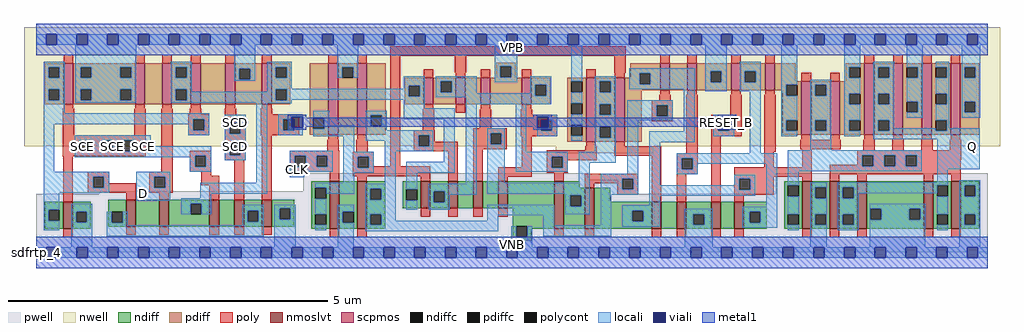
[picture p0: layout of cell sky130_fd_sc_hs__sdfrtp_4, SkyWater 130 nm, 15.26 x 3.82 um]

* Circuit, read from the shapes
.subckt sky130_fd_sc_hs__sdfrtp_4 CLK D RESET_B SCD SCE VGND VNB VPB VPWR Q
XM1 VGND SCE n1 VNB sky130_fd_pr__nfet_01v8_lvt w=0.42 l=0.15
XM2 n2 n1 n3 VNB sky130_fd_pr__nfet_01v8_lvt w=0.42 l=0.15
XM3 n4 D n2 VNB sky130_fd_pr__nfet_01v8_lvt w=0.42 l=0.15
XM4 n5 SCE n4 VNB sky130_fd_pr__nfet_01v8_lvt w=0.42 l=0.15
XM5 n3 SCD n5 VNB sky130_fd_pr__nfet_01v8_lvt w=0.42 l=0.15
XM6 VGND RESET_B n3 VNB sky130_fd_pr__nfet_01v8_lvt w=0.42 l=0.15
XM7 VGND CLK n6 VNB sky130_fd_pr__nfet_01v8_lvt w=0.74 l=0.15
XM8 n7 n6 VGND VNB sky130_fd_pr__nfet_01v8_lvt w=0.74 l=0.15
XM9 n8 n6 n4 VNB sky130_fd_pr__nfet_01v8_lvt w=0.42 l=0.15
XM10 n9 n7 n8 VNB sky130_fd_pr__nfet_01v8_lvt w=0.42 l=0.15
XM11 n10 n11 n9 VNB sky130_fd_pr__nfet_01v8_lvt w=0.42 l=0.15
XM12 VGND RESET_B n10 VNB sky130_fd_pr__nfet_01v8_lvt w=0.42 l=0.15
XM13 n11 n8 VGND VNB sky130_fd_pr__nfet_01v8_lvt w=0.74 l=0.15
XM14 n12 n7 n11 VNB sky130_fd_pr__nfet_01v8_lvt w=0.64 l=0.15
XM15 n13 n6 n12 VNB sky130_fd_pr__nfet_01v8_lvt w=0.42 l=0.15
XM16 VGND n14 n13 VNB sky130_fd_pr__nfet_01v8_lvt w=0.42 l=0.15
XM17 n15 RESET_B VGND VNB sky130_fd_pr__nfet_01v8_lvt w=0.42 l=0.15
XM18 n14 n12 n15 VNB sky130_fd_pr__nfet_01v8_lvt w=0.42 l=0.15
XM19 VGND n12 n16 VNB sky130_fd_pr__nfet_01v8_lvt w=0.74 l=0.15
XM20 Q n16 VGND VNB sky130_fd_pr__nfet_01v8_lvt w=0.74 l=0.15 m=4
XM21 VPWR SCE n1 VPB sky130_fd_pr__pfet_01v8 w=0.64 l=0.15
XM22 n17 SCE VPWR VPB sky130_fd_pr__pfet_01v8 w=0.64 l=0.15
XM23 n4 D n17 VPB sky130_fd_pr__pfet_01v8 w=0.64 l=0.15
XM24 n18 n1 n4 VPB sky130_fd_pr__pfet_01v8 w=0.64 l=0.15
XM25 VPWR SCD n18 VPB sky130_fd_pr__pfet_01v8 w=0.64 l=0.15
XM26 n4 RESET_B VPWR VPB sky130_fd_pr__pfet_01v8 w=0.64 l=0.15
XM27 VPWR CLK n6 VPB sky130_fd_pr__pfet_01v8 w=1.12 l=0.15
XM28 n7 n6 VPWR VPB sky130_fd_pr__pfet_01v8 w=1.12 l=0.15
XM29 n8 n7 n4 VPB sky130_fd_pr__pfet_01v8 w=0.42 l=0.15
XM30 n19 n6 n8 VPB sky130_fd_pr__pfet_01v8 w=0.42 l=0.15
XM31 VPWR n11 n19 VPB sky130_fd_pr__pfet_01v8 w=0.42 l=0.15
XM32 n8 RESET_B VPWR VPB sky130_fd_pr__pfet_01v8 w=0.42 l=0.15
XM33 n11 n8 VPWR VPB sky130_fd_pr__pfet_01v8 w=1 l=0.15
XM34 n12 n6 n11 VPB sky130_fd_pr__pfet_01v8 w=1 l=0.15
XM35 n20 n7 n12 VPB sky130_fd_pr__pfet_01v8 w=0.42 l=0.15
XM36 VPWR n14 n20 VPB sky130_fd_pr__pfet_01v8 w=0.42 l=0.15
XM37 n14 RESET_B VPWR VPB sky130_fd_pr__pfet_01v8 w=0.42 l=0.15
XM38 VPWR n12 n14 VPB sky130_fd_pr__pfet_01v8 w=0.42 l=0.15
XM39 n16 n12 VPWR VPB sky130_fd_pr__pfet_01v8 w=0.84 l=0.15 m=2
XM40 Q n16 VPWR VPB sky130_fd_pr__pfet_01v8 w=1.12 l=0.15 m=4
.ends

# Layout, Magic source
magic
tech sky130A
magscale 1 2
<< nwell >>
rect -38 332 3014 704
rect 1625 311 1929 332
<< pwell >>
rect 835 228 1726 248
rect 835 191 1821 228
rect 199 184 1821 191
rect 2313 184 2975 248
rect 1 49 2975 184
rect 0 0 2976 49
<< scpmos >>
rect 86 464 116 592
rect 310 464 340 592
rect 394 464 424 592
rect 484 464 514 592
rect 592 464 622 592
rect 706 464 736 592
rect 914 368 944 592
rect 1004 368 1034 592
rect 1212 463 1242 547
rect 1312 463 1342 547
rect 1390 463 1420 547
rect 1518 463 1548 547
rect 1720 347 1750 547
rect 1810 347 1840 547
rect 1952 508 1982 592
rect 2036 508 2066 592
rect 2173 508 2203 592
rect 2280 508 2310 592
rect 2393 368 2423 536
rect 2483 368 2513 536
rect 2590 368 2620 592
rect 2680 368 2710 592
rect 2770 368 2800 592
rect 2860 368 2890 592
<< nmoslvt >>
rect 84 74 114 158
rect 282 81 312 165
rect 385 81 415 165
rect 542 81 572 165
rect 620 81 650 165
rect 706 81 736 165
rect 918 74 948 222
rect 1004 74 1034 222
rect 1203 138 1233 222
rect 1289 138 1319 222
rect 1367 138 1397 222
rect 1445 138 1475 222
rect 1620 74 1650 222
rect 1715 74 1745 202
rect 1925 74 1955 158
rect 2003 74 2033 158
rect 2111 74 2141 158
rect 2183 74 2213 158
rect 2396 74 2426 222
rect 2482 74 2512 222
rect 2568 74 2598 222
rect 2776 74 2806 222
rect 2862 74 2892 222
<< ndiff >>
rect 861 202 918 222
rect 861 168 873 202
rect 907 168 918 202
rect 27 133 84 158
rect 27 99 39 133
rect 73 99 84 133
rect 27 74 84 99
rect 114 128 171 158
rect 114 94 125 128
rect 159 94 171 128
rect 114 74 171 94
rect 225 127 282 165
rect 225 93 237 127
rect 271 93 282 127
rect 225 81 282 93
rect 312 81 385 165
rect 415 153 542 165
rect 415 119 483 153
rect 517 119 542 153
rect 415 81 542 119
rect 572 81 620 165
rect 650 130 706 165
rect 650 96 661 130
rect 695 96 706 130
rect 650 81 706 96
rect 736 138 807 165
rect 736 104 761 138
rect 795 104 807 138
rect 736 81 807 104
rect 861 120 918 168
rect 861 86 873 120
rect 907 86 918 120
rect 861 74 918 86
rect 948 127 1004 222
rect 948 93 959 127
rect 993 93 1004 127
rect 948 74 1004 93
rect 1034 199 1091 222
rect 1034 165 1045 199
rect 1079 165 1091 199
rect 1034 120 1091 165
rect 1146 197 1203 222
rect 1146 163 1158 197
rect 1192 163 1203 197
rect 1146 138 1203 163
rect 1233 191 1289 222
rect 1233 157 1244 191
rect 1278 157 1289 191
rect 1233 138 1289 157
rect 1319 138 1367 222
rect 1397 138 1445 222
rect 1475 138 1620 222
rect 1034 86 1045 120
rect 1079 86 1091 120
rect 1034 74 1091 86
rect 1490 82 1620 138
rect 1490 48 1502 82
rect 1536 74 1620 82
rect 1650 202 1700 222
rect 1650 179 1715 202
rect 1650 145 1670 179
rect 1704 145 1715 179
rect 1650 74 1715 145
rect 1745 158 1795 202
rect 2339 210 2396 222
rect 2339 176 2351 210
rect 2385 176 2396 210
rect 1745 131 1925 158
rect 1745 97 1864 131
rect 1898 97 1925 131
rect 1745 74 1925 97
rect 1955 74 2003 158
rect 2033 120 2111 158
rect 2033 86 2055 120
rect 2089 86 2111 120
rect 2033 74 2111 86
rect 2141 74 2183 158
rect 2213 127 2285 158
rect 2213 93 2231 127
rect 2265 93 2285 127
rect 2213 74 2285 93
rect 2339 120 2396 176
rect 2339 86 2351 120
rect 2385 86 2396 120
rect 2339 74 2396 86
rect 2426 204 2482 222
rect 2426 170 2437 204
rect 2471 170 2482 204
rect 2426 120 2482 170
rect 2426 86 2437 120
rect 2471 86 2482 120
rect 2426 74 2482 86
rect 2512 204 2568 222
rect 2512 170 2523 204
rect 2557 170 2568 204
rect 2512 120 2568 170
rect 2512 86 2523 120
rect 2557 86 2568 120
rect 2512 74 2568 86
rect 2598 136 2776 222
rect 2598 102 2609 136
rect 2643 102 2731 136
rect 2765 102 2776 136
rect 2598 74 2776 102
rect 2806 210 2862 222
rect 2806 176 2817 210
rect 2851 176 2862 210
rect 2806 120 2862 176
rect 2806 86 2817 120
rect 2851 86 2862 120
rect 2806 74 2862 86
rect 2892 210 2949 222
rect 2892 176 2903 210
rect 2937 176 2949 210
rect 2892 120 2949 176
rect 2892 86 2903 120
rect 2937 86 2949 120
rect 2892 74 2949 86
rect 1536 48 1548 74
rect 1490 36 1548 48
<< pdiff >>
rect 27 580 86 592
rect 27 546 39 580
rect 73 546 86 580
rect 27 510 86 546
rect 27 476 39 510
rect 73 476 86 510
rect 27 464 86 476
rect 116 580 310 592
rect 116 546 139 580
rect 173 546 263 580
rect 297 546 310 580
rect 116 510 310 546
rect 116 476 139 510
rect 173 476 263 510
rect 297 476 310 510
rect 116 464 310 476
rect 340 464 394 592
rect 424 580 484 592
rect 424 546 437 580
rect 471 546 484 580
rect 424 510 484 546
rect 424 476 437 510
rect 471 476 484 510
rect 424 464 484 476
rect 514 464 592 592
rect 622 575 706 592
rect 622 541 635 575
rect 669 541 706 575
rect 622 464 706 541
rect 736 580 795 592
rect 736 546 749 580
rect 783 546 795 580
rect 736 510 795 546
rect 736 476 749 510
rect 783 476 795 510
rect 736 464 795 476
rect 855 421 914 592
rect 855 387 867 421
rect 901 387 914 421
rect 855 368 914 387
rect 944 580 1004 592
rect 944 546 957 580
rect 991 546 1004 580
rect 944 368 1004 546
rect 1034 429 1093 592
rect 1034 395 1047 429
rect 1081 395 1093 429
rect 1034 368 1093 395
rect 1438 582 1500 594
rect 1438 548 1452 582
rect 1486 548 1500 582
rect 1438 547 1500 548
rect 1858 560 1952 592
rect 1858 547 1887 560
rect 1153 522 1212 547
rect 1153 488 1165 522
rect 1199 488 1212 522
rect 1153 463 1212 488
rect 1242 535 1312 547
rect 1242 501 1265 535
rect 1299 501 1312 535
rect 1242 463 1312 501
rect 1342 463 1390 547
rect 1420 463 1518 547
rect 1548 524 1607 547
rect 1548 490 1561 524
rect 1595 490 1607 524
rect 1548 463 1607 490
rect 1661 535 1720 547
rect 1661 501 1673 535
rect 1707 501 1720 535
rect 1661 467 1720 501
rect 1661 433 1673 467
rect 1707 433 1720 467
rect 1661 399 1720 433
rect 1661 365 1673 399
rect 1707 365 1720 399
rect 1661 347 1720 365
rect 1750 535 1810 547
rect 1750 501 1763 535
rect 1797 501 1810 535
rect 1750 464 1810 501
rect 1750 430 1763 464
rect 1797 430 1810 464
rect 1750 393 1810 430
rect 1750 359 1763 393
rect 1797 359 1810 393
rect 1750 347 1810 359
rect 1840 526 1887 547
rect 1921 526 1952 560
rect 1840 508 1952 526
rect 1982 508 2036 592
rect 2066 567 2173 592
rect 2066 533 2109 567
rect 2143 533 2173 567
rect 2066 508 2173 533
rect 2203 567 2280 592
rect 2203 533 2216 567
rect 2250 533 2280 567
rect 2203 508 2280 533
rect 2310 536 2375 592
rect 2531 580 2590 592
rect 2531 546 2543 580
rect 2577 546 2590 580
rect 2531 536 2590 546
rect 2310 524 2393 536
rect 2310 508 2346 524
rect 1840 347 1893 508
rect 2333 490 2346 508
rect 2380 490 2393 524
rect 2333 414 2393 490
rect 2333 380 2346 414
rect 2380 380 2393 414
rect 2333 368 2393 380
rect 2423 524 2483 536
rect 2423 490 2436 524
rect 2470 490 2483 524
rect 2423 414 2483 490
rect 2423 380 2436 414
rect 2470 380 2483 414
rect 2423 368 2483 380
rect 2513 497 2590 536
rect 2513 463 2543 497
rect 2577 463 2590 497
rect 2513 414 2590 463
rect 2513 380 2543 414
rect 2577 380 2590 414
rect 2513 368 2590 380
rect 2620 580 2680 592
rect 2620 546 2633 580
rect 2667 546 2680 580
rect 2620 497 2680 546
rect 2620 463 2633 497
rect 2667 463 2680 497
rect 2620 414 2680 463
rect 2620 380 2633 414
rect 2667 380 2680 414
rect 2620 368 2680 380
rect 2710 580 2770 592
rect 2710 546 2723 580
rect 2757 546 2770 580
rect 2710 472 2770 546
rect 2710 438 2723 472
rect 2757 438 2770 472
rect 2710 368 2770 438
rect 2800 580 2860 592
rect 2800 546 2813 580
rect 2847 546 2860 580
rect 2800 497 2860 546
rect 2800 463 2813 497
rect 2847 463 2860 497
rect 2800 414 2860 463
rect 2800 380 2813 414
rect 2847 380 2860 414
rect 2800 368 2860 380
rect 2890 580 2949 592
rect 2890 546 2903 580
rect 2937 546 2949 580
rect 2890 472 2949 546
rect 2890 438 2903 472
rect 2937 438 2949 472
rect 2890 368 2949 438
<< ndiffc >>
rect 873 168 907 202
rect 39 99 73 133
rect 125 94 159 128
rect 237 93 271 127
rect 483 119 517 153
rect 661 96 695 130
rect 761 104 795 138
rect 873 86 907 120
rect 959 93 993 127
rect 1045 165 1079 199
rect 1158 163 1192 197
rect 1244 157 1278 191
rect 1045 86 1079 120
rect 1502 48 1536 82
rect 1670 145 1704 179
rect 2351 176 2385 210
rect 1864 97 1898 131
rect 2055 86 2089 120
rect 2231 93 2265 127
rect 2351 86 2385 120
rect 2437 170 2471 204
rect 2437 86 2471 120
rect 2523 170 2557 204
rect 2523 86 2557 120
rect 2609 102 2643 136
rect 2731 102 2765 136
rect 2817 176 2851 210
rect 2817 86 2851 120
rect 2903 176 2937 210
rect 2903 86 2937 120
<< pdiffc >>
rect 39 546 73 580
rect 39 476 73 510
rect 139 546 173 580
rect 263 546 297 580
rect 139 476 173 510
rect 263 476 297 510
rect 437 546 471 580
rect 437 476 471 510
rect 635 541 669 575
rect 749 546 783 580
rect 749 476 783 510
rect 867 387 901 421
rect 957 546 991 580
rect 1047 395 1081 429
rect 1452 548 1486 582
rect 1165 488 1199 522
rect 1265 501 1299 535
rect 1561 490 1595 524
rect 1673 501 1707 535
rect 1673 433 1707 467
rect 1673 365 1707 399
rect 1763 501 1797 535
rect 1763 430 1797 464
rect 1763 359 1797 393
rect 1887 526 1921 560
rect 2109 533 2143 567
rect 2216 533 2250 567
rect 2543 546 2577 580
rect 2346 490 2380 524
rect 2346 380 2380 414
rect 2436 490 2470 524
rect 2436 380 2470 414
rect 2543 463 2577 497
rect 2543 380 2577 414
rect 2633 546 2667 580
rect 2633 463 2667 497
rect 2633 380 2667 414
rect 2723 546 2757 580
rect 2723 438 2757 472
rect 2813 546 2847 580
rect 2813 463 2847 497
rect 2813 380 2847 414
rect 2903 546 2937 580
rect 2903 438 2937 472
<< poly >>
rect 86 592 116 618
rect 310 592 340 618
rect 394 592 424 618
rect 484 592 514 618
rect 592 592 622 618
rect 706 592 736 618
rect 914 592 944 618
rect 1004 592 1034 618
rect 1108 615 1843 645
rect 86 449 116 464
rect 310 449 340 464
rect 394 449 424 464
rect 484 449 514 464
rect 592 449 622 464
rect 706 449 736 464
rect 83 367 119 449
rect 307 367 343 449
rect 83 351 343 367
rect 83 317 137 351
rect 171 317 205 351
rect 239 317 273 351
rect 307 317 343 351
rect 83 301 343 317
rect 84 158 114 301
rect 391 253 427 449
rect 481 432 517 449
rect 475 416 541 432
rect 475 382 491 416
rect 525 382 541 416
rect 475 366 541 382
rect 589 422 625 449
rect 703 432 739 449
rect 589 406 655 422
rect 589 372 605 406
rect 639 372 655 406
rect 589 338 655 372
rect 703 416 823 432
rect 703 382 773 416
rect 807 382 823 416
rect 703 366 823 382
rect 162 237 228 253
rect 162 203 178 237
rect 212 217 228 237
rect 354 237 427 253
rect 481 302 547 318
rect 481 268 497 302
rect 531 268 547 302
rect 589 304 605 338
rect 639 304 655 338
rect 589 288 655 304
rect 481 252 547 268
rect 212 203 312 217
rect 162 187 312 203
rect 354 203 370 237
rect 404 203 427 237
rect 517 240 547 252
rect 517 210 572 240
rect 354 187 427 203
rect 282 165 312 187
rect 385 165 415 187
rect 542 165 572 210
rect 620 165 650 288
rect 706 165 736 366
rect 914 353 944 368
rect 1004 353 1034 368
rect 911 318 947 353
rect 793 302 948 318
rect 1001 315 1037 353
rect 793 268 809 302
rect 843 268 877 302
rect 911 268 948 302
rect 793 252 948 268
rect 918 222 948 252
rect 990 299 1056 315
rect 990 265 1006 299
rect 1040 269 1056 299
rect 1108 269 1138 615
rect 1212 547 1242 573
rect 1309 562 1345 615
rect 1312 547 1342 562
rect 1390 547 1420 573
rect 1518 547 1548 573
rect 1720 547 1750 573
rect 1807 562 1843 615
rect 1952 592 1982 618
rect 2036 592 2066 618
rect 2173 592 2203 618
rect 2280 592 2310 618
rect 2590 592 2620 618
rect 2680 592 2710 618
rect 2770 592 2800 618
rect 2860 592 2890 618
rect 1810 547 1840 562
rect 1212 448 1242 463
rect 1209 383 1245 448
rect 1312 437 1342 463
rect 1390 448 1420 463
rect 1518 448 1548 463
rect 1387 389 1423 448
rect 1515 430 1551 448
rect 1515 414 1629 430
rect 1180 367 1246 383
rect 1180 333 1196 367
rect 1230 347 1246 367
rect 1367 373 1471 389
rect 1230 333 1319 347
rect 1180 317 1319 333
rect 1040 265 1233 269
rect 990 239 1233 265
rect 1004 222 1034 239
rect 1203 222 1233 239
rect 1289 222 1319 317
rect 1367 339 1421 373
rect 1455 339 1471 373
rect 1515 380 1579 414
rect 1613 380 1629 414
rect 1515 364 1629 380
rect 1367 323 1471 339
rect 1367 222 1397 323
rect 1519 267 1549 364
rect 2393 536 2423 562
rect 2483 536 2513 562
rect 1952 493 1982 508
rect 2036 493 2066 508
rect 2173 493 2203 508
rect 2280 493 2310 508
rect 1949 476 1985 493
rect 1925 460 1991 476
rect 1925 426 1941 460
rect 1975 426 1991 460
rect 1925 410 1991 426
rect 1720 332 1750 347
rect 1810 332 1840 347
rect 1717 319 1753 332
rect 1445 237 1549 267
rect 1597 299 1753 319
rect 1807 302 1955 332
rect 2033 311 2069 493
rect 2170 430 2206 493
rect 1597 265 1613 299
rect 1647 289 1753 299
rect 1647 265 1663 289
rect 1597 249 1663 265
rect 1445 222 1475 237
rect 1620 222 1650 249
rect 1715 231 1883 247
rect 84 48 114 74
rect 282 55 312 81
rect 385 55 415 81
rect 542 55 572 81
rect 620 55 650 81
rect 706 55 736 81
rect 1203 112 1233 138
rect 1289 112 1319 138
rect 1367 112 1397 138
rect 1445 112 1475 138
rect 918 48 948 74
rect 1004 48 1034 74
rect 1715 217 1833 231
rect 1715 202 1745 217
rect 1817 197 1833 217
rect 1867 197 1883 231
rect 1817 181 1883 197
rect 1925 158 1955 302
rect 2003 295 2069 311
rect 2003 261 2019 295
rect 2053 261 2069 295
rect 2003 245 2069 261
rect 2111 414 2206 430
rect 2111 380 2133 414
rect 2167 380 2206 414
rect 2111 364 2206 380
rect 2003 158 2033 245
rect 2111 158 2141 364
rect 2277 315 2313 493
rect 2393 353 2423 368
rect 2483 353 2513 368
rect 2590 353 2620 368
rect 2680 353 2710 368
rect 2770 353 2800 368
rect 2860 353 2890 368
rect 2390 323 2516 353
rect 2277 267 2307 315
rect 2396 267 2426 323
rect 2587 320 2623 353
rect 2677 320 2713 353
rect 2767 320 2803 353
rect 2857 320 2893 353
rect 2568 304 2893 320
rect 2568 275 2584 304
rect 2183 237 2426 267
rect 2183 230 2307 237
rect 2183 196 2199 230
rect 2233 196 2307 230
rect 2396 222 2426 237
rect 2482 270 2584 275
rect 2618 270 2652 304
rect 2686 270 2720 304
rect 2754 290 2893 304
rect 2754 270 2892 290
rect 2482 245 2892 270
rect 2482 222 2512 245
rect 2568 222 2598 245
rect 2776 222 2806 245
rect 2862 222 2892 245
rect 2183 180 2307 196
rect 2183 158 2213 180
rect 1620 48 1650 74
rect 1715 48 1745 74
rect 1925 48 1955 74
rect 2003 48 2033 74
rect 2111 48 2141 74
rect 2183 48 2213 74
rect 2396 48 2426 74
rect 2482 48 2512 74
rect 2568 48 2598 74
rect 2776 48 2806 74
rect 2862 48 2892 74
<< polycont >>
rect 137 317 171 351
rect 205 317 239 351
rect 273 317 307 351
rect 491 382 525 416
rect 605 372 639 406
rect 773 382 807 416
rect 178 203 212 237
rect 497 268 531 302
rect 605 304 639 338
rect 370 203 404 237
rect 809 268 843 302
rect 877 268 911 302
rect 1006 265 1040 299
rect 1196 333 1230 367
rect 1421 339 1455 373
rect 1579 380 1613 414
rect 1941 426 1975 460
rect 1613 265 1647 299
rect 1833 197 1867 231
rect 2019 261 2053 295
rect 2133 380 2167 414
rect 2199 196 2233 230
rect 2584 270 2618 304
rect 2652 270 2686 304
rect 2720 270 2754 304
<< locali >>
rect 0 649 31 683
rect 65 649 127 683
rect 161 649 223 683
rect 257 649 319 683
rect 353 649 415 683
rect 449 649 511 683
rect 545 649 607 683
rect 641 649 703 683
rect 737 649 799 683
rect 833 649 895 683
rect 929 649 991 683
rect 1025 649 1087 683
rect 1121 649 1183 683
rect 1217 649 1279 683
rect 1313 649 1375 683
rect 1409 649 1471 683
rect 1505 649 1567 683
rect 1601 649 1663 683
rect 1697 649 1759 683
rect 1793 649 1855 683
rect 1889 649 1951 683
rect 1985 649 2047 683
rect 2081 649 2143 683
rect 2177 649 2239 683
rect 2273 649 2335 683
rect 2369 649 2431 683
rect 2465 649 2527 683
rect 2561 649 2623 683
rect 2657 649 2719 683
rect 2753 649 2815 683
rect 2849 649 2911 683
rect 2945 649 2976 683
rect 23 580 89 596
rect 23 546 39 580
rect 73 546 89 580
rect 23 510 89 546
rect 23 476 39 510
rect 73 476 89 510
rect 23 435 89 476
rect 123 580 313 649
rect 123 546 139 580
rect 173 546 263 580
rect 297 546 313 580
rect 123 510 313 546
rect 123 476 139 510
rect 173 476 263 510
rect 297 476 313 510
rect 123 469 313 476
rect 421 580 487 596
rect 421 546 437 580
rect 471 546 487 580
rect 421 510 487 546
rect 619 575 685 649
rect 619 541 635 575
rect 669 541 685 575
rect 619 537 685 541
rect 723 580 799 596
rect 723 546 749 580
rect 783 546 799 580
rect 941 580 1007 649
rect 941 546 957 580
rect 991 546 1007 580
rect 1434 582 1504 649
rect 421 476 437 510
rect 471 503 487 510
rect 723 512 799 546
rect 1149 522 1215 551
rect 1149 512 1165 522
rect 723 510 1165 512
rect 723 503 749 510
rect 471 476 749 503
rect 783 488 1165 510
rect 1199 488 1215 522
rect 783 478 1215 488
rect 1249 535 1377 551
rect 1249 501 1265 535
rect 1299 501 1377 535
rect 1434 548 1452 582
rect 1486 548 1504 582
rect 1434 532 1504 548
rect 1249 498 1377 501
rect 1545 524 1611 551
rect 1545 498 1561 524
rect 1249 490 1561 498
rect 1595 490 1611 524
rect 1249 485 1611 490
rect 783 476 799 478
rect 421 469 799 476
rect 689 466 799 469
rect 23 416 541 435
rect 23 401 491 416
rect 23 253 57 401
rect 475 382 491 401
rect 525 382 541 416
rect 121 351 359 367
rect 475 366 541 382
rect 589 406 655 430
rect 589 372 605 406
rect 639 372 655 406
rect 121 317 137 351
rect 171 317 205 351
rect 239 317 273 351
rect 307 332 359 351
rect 589 338 655 372
rect 307 317 547 332
rect 121 302 547 317
rect 121 298 497 302
rect 481 268 497 298
rect 531 268 547 302
rect 589 304 605 338
rect 639 304 655 338
rect 589 288 655 304
rect 23 237 228 253
rect 23 203 178 237
rect 212 203 228 237
rect 23 187 228 203
rect 313 237 420 253
rect 481 252 547 268
rect 313 203 370 237
rect 404 203 420 237
rect 689 218 723 466
rect 1149 451 1215 478
rect 1343 464 1611 485
rect 1673 535 1707 649
rect 1854 560 2059 576
rect 1673 467 1707 501
rect 757 424 833 432
rect 757 416 799 424
rect 757 382 773 416
rect 807 382 833 390
rect 757 366 833 382
rect 867 421 917 444
rect 901 398 917 421
rect 1031 429 1097 444
rect 901 387 995 398
rect 867 364 995 387
rect 793 302 927 318
rect 793 268 809 302
rect 843 268 877 302
rect 911 268 927 302
rect 793 252 927 268
rect 961 315 995 364
rect 1031 395 1047 429
rect 1081 395 1097 429
rect 1149 417 1309 451
rect 1031 383 1097 395
rect 1031 367 1241 383
rect 1031 349 1196 367
rect 1090 333 1196 349
rect 1230 333 1241 367
rect 1090 317 1241 333
rect 961 299 1056 315
rect 961 265 1006 299
rect 1040 265 1056 299
rect 793 236 839 252
rect 961 249 1056 265
rect 961 218 995 249
rect 23 133 73 187
rect 313 162 420 203
rect 513 184 723 218
rect 873 202 995 218
rect 1090 215 1124 317
rect 1275 283 1309 417
rect 513 169 547 184
rect 454 153 547 169
rect 23 99 39 133
rect 23 70 73 99
rect 109 128 175 153
rect 109 94 125 128
rect 159 94 175 128
rect 109 17 175 94
rect 221 127 287 128
rect 221 93 237 127
rect 271 93 287 127
rect 454 119 483 153
rect 517 119 547 153
rect 907 184 995 202
rect 1029 199 1124 215
rect 645 130 711 150
rect 221 85 287 93
rect 645 96 661 130
rect 695 96 711 130
rect 645 85 711 96
rect 221 51 711 85
rect 745 138 811 150
rect 745 104 761 138
rect 795 104 811 138
rect 745 17 811 104
rect 873 120 907 168
rect 1029 165 1045 199
rect 1079 165 1124 199
rect 873 70 907 86
rect 943 127 993 150
rect 943 93 959 127
rect 943 17 993 93
rect 1029 120 1124 165
rect 1158 249 1309 283
rect 1158 197 1192 249
rect 1343 215 1377 464
rect 1158 134 1192 163
rect 1228 191 1377 215
rect 1228 157 1244 191
rect 1278 181 1377 191
rect 1411 373 1465 389
rect 1411 339 1421 373
rect 1455 339 1465 373
rect 1411 218 1465 339
rect 1499 315 1533 464
rect 1567 424 1629 430
rect 1601 414 1629 424
rect 1567 380 1579 390
rect 1613 380 1629 414
rect 1567 364 1629 380
rect 1673 399 1707 433
rect 1673 349 1707 365
rect 1747 535 1813 551
rect 1747 501 1763 535
rect 1797 501 1813 535
rect 1854 526 1887 560
rect 1921 526 2059 560
rect 1854 510 2059 526
rect 1747 464 1813 501
rect 1747 430 1763 464
rect 1797 430 1813 464
rect 1747 393 1813 430
rect 1747 359 1763 393
rect 1797 359 1813 393
rect 1747 315 1813 359
rect 1499 299 1663 315
rect 1499 265 1613 299
rect 1647 265 1663 299
rect 1499 252 1663 265
rect 1697 281 1813 315
rect 1849 460 1991 476
rect 1849 426 1941 460
rect 1975 426 1991 460
rect 1849 413 1991 426
rect 1697 218 1731 281
rect 1849 247 1883 413
rect 2025 379 2059 510
rect 2093 567 2159 649
rect 2093 533 2109 567
rect 2143 533 2159 567
rect 2093 504 2159 533
rect 2200 567 2266 596
rect 2200 533 2216 567
rect 2250 533 2266 567
rect 2200 504 2266 533
rect 1411 184 1731 218
rect 1278 157 1294 181
rect 1228 134 1294 157
rect 1654 179 1731 184
rect 1029 86 1045 120
rect 1079 100 1124 120
rect 1411 116 1620 150
rect 1654 145 1670 179
rect 1704 145 1731 179
rect 1654 119 1731 145
rect 1765 231 1883 247
rect 1765 197 1833 231
rect 1867 197 1883 231
rect 1765 181 1883 197
rect 1917 345 2059 379
rect 2117 424 2183 430
rect 2117 414 2143 424
rect 2117 380 2133 414
rect 2177 390 2183 424
rect 2167 380 2183 390
rect 2117 364 2183 380
rect 1917 211 1951 345
rect 2232 311 2266 504
rect 2330 524 2380 649
rect 2527 580 2577 649
rect 2527 546 2543 580
rect 2330 490 2346 524
rect 2330 414 2380 490
rect 2330 380 2346 414
rect 2330 364 2380 380
rect 2420 524 2486 540
rect 2420 490 2436 524
rect 2470 490 2486 524
rect 2420 414 2486 490
rect 2420 380 2436 414
rect 2470 380 2486 414
rect 2420 320 2486 380
rect 2527 497 2577 546
rect 2527 463 2543 497
rect 2527 414 2577 463
rect 2527 380 2543 414
rect 2527 364 2577 380
rect 2617 580 2683 596
rect 2617 546 2633 580
rect 2667 546 2683 580
rect 2617 497 2683 546
rect 2617 463 2633 497
rect 2667 463 2683 497
rect 2617 414 2683 463
rect 2723 580 2773 649
rect 2757 546 2773 580
rect 2723 472 2773 546
rect 2757 438 2773 472
rect 2723 422 2773 438
rect 2813 580 2856 596
rect 2847 546 2856 580
rect 2813 497 2856 546
rect 2847 463 2856 497
rect 2617 380 2633 414
rect 2667 388 2683 414
rect 2813 414 2856 463
rect 2894 580 2953 649
rect 2894 546 2903 580
rect 2937 546 2953 580
rect 2894 472 2953 546
rect 2894 438 2903 472
rect 2937 438 2953 472
rect 2894 422 2953 438
rect 2667 380 2813 388
rect 2847 388 2856 414
rect 2847 380 2951 388
rect 2617 354 2951 380
rect 2003 295 2317 311
rect 2003 261 2019 295
rect 2053 277 2317 295
rect 2053 261 2069 277
rect 2003 245 2069 261
rect 2183 230 2249 243
rect 2183 211 2199 230
rect 1917 196 2199 211
rect 2233 196 2249 230
rect 1411 100 1445 116
rect 1079 86 1445 100
rect 1029 66 1445 86
rect 1586 85 1620 116
rect 1765 85 1799 181
rect 1917 177 2249 196
rect 1917 147 1951 177
rect 1486 48 1502 82
rect 1536 48 1552 82
rect 1586 51 1799 85
rect 1833 131 1951 147
rect 2283 143 2317 277
rect 1833 97 1864 131
rect 1898 97 1951 131
rect 1833 81 1951 97
rect 2028 120 2116 136
rect 2028 86 2055 120
rect 2089 86 2116 120
rect 1486 17 1552 48
rect 2028 17 2116 86
rect 2208 127 2317 143
rect 2208 93 2231 127
rect 2265 93 2317 127
rect 2208 77 2317 93
rect 2351 304 2770 320
rect 2351 270 2584 304
rect 2618 270 2652 304
rect 2686 270 2720 304
rect 2754 270 2770 304
rect 2351 254 2770 270
rect 2817 260 2951 354
rect 2351 210 2385 254
rect 2817 220 2851 260
rect 2351 120 2385 176
rect 2351 70 2385 86
rect 2421 204 2473 220
rect 2421 170 2437 204
rect 2471 170 2473 204
rect 2421 120 2473 170
rect 2421 86 2437 120
rect 2471 86 2473 120
rect 2421 17 2473 86
rect 2507 210 2851 220
rect 2507 204 2817 210
rect 2507 170 2523 204
rect 2557 186 2817 204
rect 2557 170 2573 186
rect 2507 120 2573 170
rect 2507 86 2523 120
rect 2557 86 2573 120
rect 2507 70 2573 86
rect 2607 136 2781 152
rect 2607 102 2609 136
rect 2643 102 2731 136
rect 2765 102 2781 136
rect 2607 17 2781 102
rect 2817 120 2851 176
rect 2817 70 2851 86
rect 2887 210 2953 226
rect 2887 176 2903 210
rect 2937 176 2953 210
rect 2887 120 2953 176
rect 2887 86 2903 120
rect 2937 86 2953 120
rect 2887 17 2953 86
rect 0 -17 31 17
rect 65 -17 127 17
rect 161 -17 223 17
rect 257 -17 319 17
rect 353 -17 415 17
rect 449 -17 511 17
rect 545 -17 607 17
rect 641 -17 703 17
rect 737 -17 799 17
rect 833 -17 895 17
rect 929 -17 991 17
rect 1025 -17 1087 17
rect 1121 -17 1183 17
rect 1217 -17 1279 17
rect 1313 -17 1375 17
rect 1409 -17 1471 17
rect 1505 -17 1567 17
rect 1601 -17 1663 17
rect 1697 -17 1759 17
rect 1793 -17 1855 17
rect 1889 -17 1951 17
rect 1985 -17 2047 17
rect 2081 -17 2143 17
rect 2177 -17 2239 17
rect 2273 -17 2335 17
rect 2369 -17 2431 17
rect 2465 -17 2527 17
rect 2561 -17 2623 17
rect 2657 -17 2719 17
rect 2753 -17 2815 17
rect 2849 -17 2911 17
rect 2945 -17 2976 17
<< viali >>
rect 31 649 65 683
rect 127 649 161 683
rect 223 649 257 683
rect 319 649 353 683
rect 415 649 449 683
rect 511 649 545 683
rect 607 649 641 683
rect 703 649 737 683
rect 799 649 833 683
rect 895 649 929 683
rect 991 649 1025 683
rect 1087 649 1121 683
rect 1183 649 1217 683
rect 1279 649 1313 683
rect 1375 649 1409 683
rect 1471 649 1505 683
rect 1567 649 1601 683
rect 1663 649 1697 683
rect 1759 649 1793 683
rect 1855 649 1889 683
rect 1951 649 1985 683
rect 2047 649 2081 683
rect 2143 649 2177 683
rect 2239 649 2273 683
rect 2335 649 2369 683
rect 2431 649 2465 683
rect 2527 649 2561 683
rect 2623 649 2657 683
rect 2719 649 2753 683
rect 2815 649 2849 683
rect 2911 649 2945 683
rect 799 416 833 424
rect 799 390 807 416
rect 807 390 833 416
rect 1567 414 1601 424
rect 1567 390 1579 414
rect 1579 390 1601 414
rect 2143 414 2177 424
rect 2143 390 2167 414
rect 2167 390 2177 414
rect 31 -17 65 17
rect 127 -17 161 17
rect 223 -17 257 17
rect 319 -17 353 17
rect 415 -17 449 17
rect 511 -17 545 17
rect 607 -17 641 17
rect 703 -17 737 17
rect 799 -17 833 17
rect 895 -17 929 17
rect 991 -17 1025 17
rect 1087 -17 1121 17
rect 1183 -17 1217 17
rect 1279 -17 1313 17
rect 1375 -17 1409 17
rect 1471 -17 1505 17
rect 1567 -17 1601 17
rect 1663 -17 1697 17
rect 1759 -17 1793 17
rect 1855 -17 1889 17
rect 1951 -17 1985 17
rect 2047 -17 2081 17
rect 2143 -17 2177 17
rect 2239 -17 2273 17
rect 2335 -17 2369 17
rect 2431 -17 2465 17
rect 2527 -17 2561 17
rect 2623 -17 2657 17
rect 2719 -17 2753 17
rect 2815 -17 2849 17
rect 2911 -17 2945 17
<< metal1 >>
rect 0 683 2976 715
rect 0 649 31 683
rect 65 649 127 683
rect 161 649 223 683
rect 257 649 319 683
rect 353 649 415 683
rect 449 649 511 683
rect 545 649 607 683
rect 641 649 703 683
rect 737 649 799 683
rect 833 649 895 683
rect 929 649 991 683
rect 1025 649 1087 683
rect 1121 649 1183 683
rect 1217 649 1279 683
rect 1313 649 1375 683
rect 1409 649 1471 683
rect 1505 649 1567 683
rect 1601 649 1663 683
rect 1697 649 1759 683
rect 1793 649 1855 683
rect 1889 649 1951 683
rect 1985 649 2047 683
rect 2081 649 2143 683
rect 2177 649 2239 683
rect 2273 649 2335 683
rect 2369 649 2431 683
rect 2465 649 2527 683
rect 2561 649 2623 683
rect 2657 649 2719 683
rect 2753 649 2815 683
rect 2849 649 2911 683
rect 2945 649 2976 683
rect 0 617 2976 649
rect 787 424 845 430
rect 787 390 799 424
rect 833 421 845 424
rect 1555 424 1613 430
rect 1555 421 1567 424
rect 833 393 1567 421
rect 833 390 845 393
rect 787 384 845 390
rect 1555 390 1567 393
rect 1601 421 1613 424
rect 2131 424 2189 430
rect 2131 421 2143 424
rect 1601 393 2143 421
rect 1601 390 1613 393
rect 1555 384 1613 390
rect 2131 390 2143 393
rect 2177 390 2189 424
rect 2131 384 2189 390
rect 0 17 2976 49
rect 0 -17 31 17
rect 65 -17 127 17
rect 161 -17 223 17
rect 257 -17 319 17
rect 353 -17 415 17
rect 449 -17 511 17
rect 545 -17 607 17
rect 641 -17 703 17
rect 737 -17 799 17
rect 833 -17 895 17
rect 929 -17 991 17
rect 1025 -17 1087 17
rect 1121 -17 1183 17
rect 1217 -17 1279 17
rect 1313 -17 1375 17
rect 1409 -17 1471 17
rect 1505 -17 1567 17
rect 1601 -17 1663 17
rect 1697 -17 1759 17
rect 1793 -17 1855 17
rect 1889 -17 1951 17
rect 1985 -17 2047 17
rect 2081 -17 2143 17
rect 2177 -17 2239 17
rect 2273 -17 2335 17
rect 2369 -17 2431 17
rect 2465 -17 2527 17
rect 2561 -17 2623 17
rect 2657 -17 2719 17
rect 2753 -17 2815 17
rect 2849 -17 2911 17
rect 2945 -17 2976 17
rect 0 -49 2976 -17
<< labels >>
rlabel comment s 0 0 0 0 4 sdfrtp_4
flabel pwell s 0 0 2976 49 0 FreeSans 200 0 0 0 VNB
port 7 nsew ground bidirectional
flabel nwell s 0 617 2976 666 0 FreeSans 200 0 0 0 VPB
port 8 nsew power bidirectional
flabel metal1 s 2143 390 2177 424 0 FreeSans 340 0 0 0 RESET_B
port 3 nsew signal input
flabel metal1 s 0 0 2976 49 0 FreeSans 340 0 0 0 VGND
port 6 nsew ground bidirectional
flabel metal1 s 0 617 2976 666 0 FreeSans 340 0 0 0 VPWR
port 9 nsew power bidirectional
flabel locali s 319 168 353 202 0 FreeSans 340 0 0 0 D
port 2 nsew signal input
flabel locali s 127 316 161 350 0 FreeSans 340 0 0 0 SCE
port 5 nsew signal input
flabel locali s 223 316 257 350 0 FreeSans 340 0 0 0 SCE
port 5 nsew signal input
flabel locali s 319 316 353 350 0 FreeSans 340 0 0 0 SCE
port 5 nsew signal input
flabel locali s 607 316 641 350 0 FreeSans 340 0 0 0 SCD
port 4 nsew signal input
flabel locali s 607 390 641 424 0 FreeSans 340 0 0 0 SCD
port 4 nsew signal input
flabel locali s 799 242 833 276 0 FreeSans 340 0 0 0 CLK
port 1 nsew clock input
flabel locali s 2911 316 2945 350 0 FreeSans 340 0 0 0 Q
port 10 nsew signal output
<< properties >>
string LEFsite unit
string LEFclass CORE
string FIXED_BBOX 0 0 2976 666
string GDS_FILE $PDKPATH/libs.ref/sky130_fd_sc_hs/gds/sky130_fd_sc_hs.gds
string LEFsymmetry X Y R90
string GDS_END 2154232
string GDS_START 2132986
<< end >>
